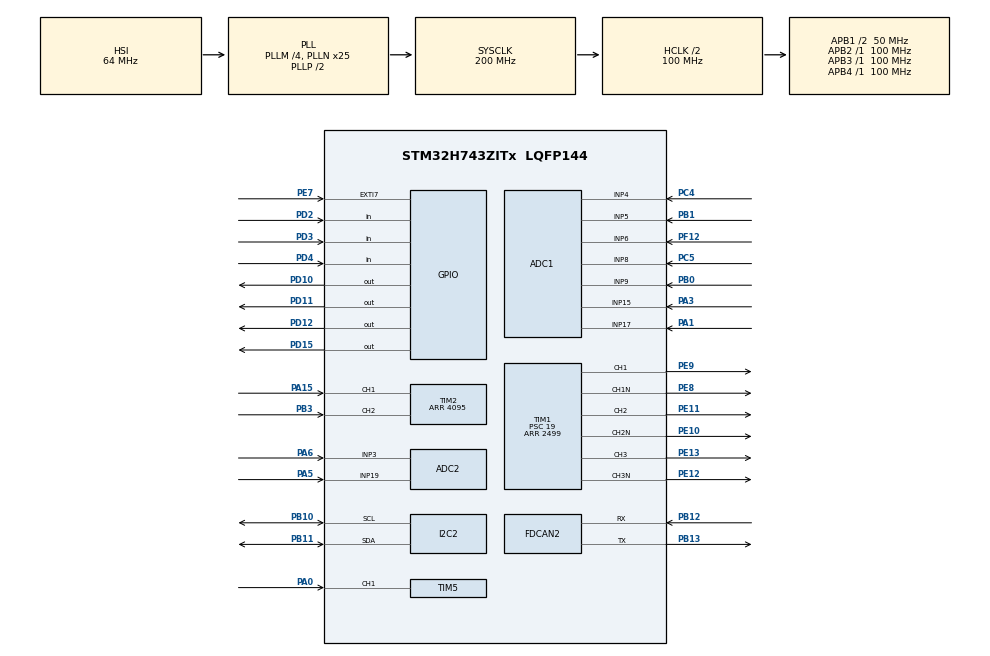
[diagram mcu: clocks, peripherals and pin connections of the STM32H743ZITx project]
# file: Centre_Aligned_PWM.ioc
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ADC1.Channel-0\#ChannelRegularConversion=ADC_CHANNEL_6
ADC1.Channel-1\#ChannelRegularConversion=ADC_CHANNEL_4
ADC1.Channel-2\#ChannelRegularConversion=ADC_CHANNEL_8
ADC1.Channel-3\#ChannelRegularConversion=ADC_CHANNEL_17
ADC1.Channel-4\#ChannelRegularConversion=ADC_CHANNEL_15
ADC1.Channel-5\#ChannelRegularConversion=ADC_CHANNEL_4
ADC1.Channel-6\#ChannelRegularConversion=ADC_CHANNEL_4
ADC1.ClockPrescaler=ADC_CLOCK_ASYNC_DIV4
ADC1.ContinuousConvMode=ENABLE
ADC1.ConversionDataManagement=ADC_CONVERSIONDATA_DMA_CIRCULAR
ADC1.ExternalTrigConv=ADC_SOFTWARE_START
ADC1.NbrOfConversion=7
ADC1.NbrOfConversionFlag=1
ADC1.OffsetNumber-0\#ChannelRegularConversion=ADC_OFFSET_NONE
ADC1.OffsetNumber-1\#ChannelRegularConversion=ADC_OFFSET_NONE
ADC1.OffsetNumber-2\#ChannelRegularConversion=ADC_OFFSET_NONE
ADC1.OffsetNumber-3\#ChannelRegularConversion=ADC_OFFSET_NONE
ADC1.OffsetNumber-4\#ChannelRegularConversion=ADC_OFFSET_NONE
ADC1.OffsetNumber-5\#ChannelRegularConversion=ADC_OFFSET_NONE
ADC1.OffsetNumber-6\#ChannelRegularConversion=ADC_OFFSET_NONE
ADC1.OffsetSignedSaturation-0\#ChannelRegularConversion=DISABLE
ADC1.OffsetSignedSaturation-1\#ChannelRegularConversion=DISABLE
ADC1.OffsetSignedSaturation-2\#ChannelRegularConversion=DISABLE
ADC1.OffsetSignedSaturation-3\#ChannelRegularConversion=DISABLE
ADC1.OffsetSignedSaturation-4\#ChannelRegularConversion=DISABLE
ADC1.OffsetSignedSaturation-5\#ChannelRegularConversion=DISABLE
ADC1.OffsetSignedSaturation-6\#ChannelRegularConversion=DISABLE
ADC1.Rank-0\#ChannelRegularConversion=1
ADC1.Rank-1\#ChannelRegularConversion=2
ADC1.Rank-2\#ChannelRegularConversion=3
ADC1.Rank-3\#ChannelRegularConversion=4
ADC1.Rank-4\#ChannelRegularConversion=5
ADC1.Rank-5\#ChannelRegularConversion=6
ADC1.Rank-6\#ChannelRegularConversion=7
ADC1.SamplingTime-0\#ChannelRegularConversion=ADC_SAMPLETIME_64CYCLES_5
ADC1.SamplingTime-1\#ChannelRegularConversion=ADC_SAMPLETIME_64CYCLES_5
ADC1.SamplingTime-2\#ChannelRegularConversion=ADC_SAMPLETIME_64CYCLES_5
ADC1.SamplingTime-3\#ChannelRegularConversion=ADC_SAMPLETIME_64CYCLES_5
ADC1.SamplingTime-4\#ChannelRegularConversion=ADC_SAMPLETIME_64CYCLES_5
ADC1.SamplingTime-5\#ChannelRegularConversion=ADC_SAMPLETIME_64CYCLES_5
ADC1.SamplingTime-6\#ChannelRegularConversion=ADC_SAMPLETIME_64CYCLES_5
ADC1.master=1
ADC2.ClockPrescaler=ADC_CLOCK_ASYNC_DIV4
ADC2.ContinuousConvMode=DISABLE
ADC2.ConversionDataManagement=ADC_CONVERSIONDATA_DR
ADC2.EnableInjectedConversion=ENABLE
ADC2.EnableRegularConversion=DISABLE
ADC2.ExternalTrigInjecConv=ADC_EXTERNALTRIGINJEC_T1_TRGO2
ADC2.InjNumberOfConversion=2
ADC2.InjectedChannel-4\#ChannelInjectedConversion=ADC_CHANNEL_3
ADC2.InjectedChannel-5\#ChannelInjectedConversion=ADC_CHANNEL_19
ADC2.InjectedConvMode=None
ADC2.InjectedOffsetNumber-4\#ChannelInjectedConversion=ADC_OFFSET_NONE
ADC2.InjectedOffsetNumber-5\#ChannelInjectedConversion=ADC_OFFSET_NONE
ADC2.InjectedOffsetSaturation-4\#ChannelInjectedConversion=DISABLE
ADC2.InjectedOffsetSaturation-5\#ChannelInjectedConversion=DISABLE
ADC2.InjectedOffsetSignedSaturation-4\#ChannelInjectedConversion=DISABLE
ADC2.InjectedOffsetSignedSaturation-5\#ChannelInjectedConversion=DISABLE
ADC2.InjectedRank-4\#ChannelInjectedConversion=1
ADC2.InjectedRank-5\#ChannelInjectedConversion=2
ADC2.InjectedSamplingTime-4\#ChannelInjectedConversion=ADC_SAMPLETIME_64CYCLES_5
ADC2.InjectedSamplingTime-5\#ChannelInjectedConversion=ADC_SAMPLETIME_64CYCLES_5
ADC2.injectedQueueMode=DISABLE
Dma.ADC1.0.Direction=DMA_PERIPH_TO_MEMORY
Dma.ADC1.0.EventEnable=DISABLE
Dma.ADC1.0.FIFOMode=DMA_FIFOMODE_DISABLE
Dma.ADC1.0.Instance=DMA1_Stream0
Dma.ADC1.0.MemDataAlignment=DMA_MDATAALIGN_HALFWORD
Dma.ADC1.0.MemInc=DMA_MINC_ENABLE
Dma.ADC1.0.Mode=DMA_CIRCULAR
Dma.ADC1.0.PeriphDataAlignment=DMA_PDATAALIGN_HALFWORD
Dma.ADC1.0.PeriphInc=DMA_PINC_DISABLE
Dma.ADC1.0.Polarity=HAL_DMAMUX_REQ_GEN_RISING
Dma.ADC1.0.Priority=DMA_PRIORITY_MEDIUM
Dma.ADC1.0.RequestNumber=1
Dma.ADC1.0.SignalID=NONE
Dma.ADC1.0.SyncEnable=DISABLE
Dma.ADC1.0.SyncPolarity=HAL_DMAMUX_SYNC_NO_EVENT
Dma.ADC1.0.SyncRequestNumber=1
Dma.ADC1.0.SyncSignalID=NONE
Dma.Request0=ADC1
FDCAN2.AutoRetransmission=ENABLE
FDCAN2.CalculateBaudRateNominal=250000
FDCAN2.CalculateTimeBitNominal=4000
FDCAN2.CalculateTimeQuantumNominal=200.0
FDCAN2.DataPrescaler=10
FDCAN2.DataTimeSeg1=16
FDCAN2.DataTimeSeg2=3
FDCAN2.NominalPrescaler=10
FDCAN2.NominalTimeSeg1=16
FDCAN2.NominalTimeSeg2=3
FDCAN2.RxBuffersNbr=6
FDCAN2.RxFifo0ElmtsNbr=6
FDCAN2.RxFifo1ElmtsNbr=6
FDCAN2.StdFiltersNbr=8
FDCAN2.TxBuffersNbr=8
FDCAN2.TxFifoQueueElmtsNbr=8
I2C2.CustomTiming=Enabled
I2C2.Timing=0x10C0ECFF
Mcu.Family=STM32H7
Mcu.Name=STM32H743ZITx
Mcu.Package=LQFP144
NVIC.ADC_IRQn=true\:0\:0\:false\:false\:true\:true\:true\:true
NVIC.DMA1_Stream0_IRQn=true\:5\:0\:true\:false\:true\:false\:true\:true
NVIC.EXTI9_5_IRQn=true\:3\:0\:true\:false\:true\:true\:true\:true
NVIC.FDCAN2_IT0_IRQn=true\:6\:0\:true\:false\:true\:true\:true\:true
NVIC.FDCAN2_IT1_IRQn=true\:6\:0\:true\:false\:true\:true\:true\:true
NVIC.PriorityGroup=NVIC_PRIORITYGROUP_4
NVIC.TIM17_IRQn=true\:2\:0\:true\:false\:true\:true\:true\:true
NVIC.TIM2_IRQn=true\:1\:0\:true\:false\:true\:true\:true\:true
NVIC.TIM4_IRQn=true\:7\:0\:true\:false\:true\:true\:true\:true
NVIC.TIM5_IRQn=true\:4\:0\:true\:false\:true\:true\:true\:true
PA0.Signal=S_TIM5_CH1
PA1.Mode=IN17-Single-Ended
PA1.Signal=ADC1_INP17
PA15\ (JTDI).Signal=S_TIM2_CH1_ETR
PA3.Signal=ADCx_INP15
PA5.Signal=ADCx_INP19
PA6.Signal=ADCx_INP3
PB0.Signal=ADCx_INP9
PB1.Signal=ADCx_INP5
PB10.Mode=I2C
PB10.Signal=I2C2_SCL
PB11.Mode=I2C
PB11.Signal=I2C2_SDA
PB12.Mode=FDCAN_Activate
PB12.Signal=FDCAN2_RX
PB13.Mode=FDCAN_Activate
PB13.Signal=FDCAN2_TX
PB3\ (JTDO/TRACESWO).Signal=S_TIM2_CH2
PC4.Signal=ADCx_INP4
PC5.Signal=ADCx_INP8
PD10.Signal=GPIO_Output
PD11.Signal=GPIO_Output
PD12.Signal=GPIO_Output
PD15.GPIO_Speed=GPIO_SPEED_FREQ_VERY_HIGH
PD15.PinState=GPIO_PIN_SET
PD15.Signal=GPIO_Output
PD2.Signal=GPIO_Input
PD3.GPIO_PuPd=GPIO_PULLUP
PD3.Signal=GPIO_Input
PD4.GPIO_PuPd=GPIO_PULLUP
PD4.Signal=GPIO_Input
PE10.Mode=PWM Generation2 CH2 CH2N
PE10.Signal=TIM1_CH2N
PE11.Signal=S_TIM1_CH2
PE12.Mode=PWM Generation3 CH3 CH3N
PE12.Signal=TIM1_CH3N
PE13.Signal=S_TIM1_CH3
PE7.Signal=GPXTI7
PE8.Mode=PWM Generation1 CH1 CH1N
PE8.Signal=TIM1_CH1N
PE9.Signal=S_TIM1_CH1
PF12.Mode=IN6-Single-Ended
PF12.Signal=ADC1_INP6
ProjectManager.HeapSize=0x200
ProjectManager.StackSize=0x400
ProjectManager.TargetToolchain=STM32CubeIDE
RCC.ADCFreq_Value=37500000
RCC.APB1Freq_Value=50000000
RCC.APB2Freq_Value=100000000
RCC.APB3Freq_Value=100000000
RCC.APB4Freq_Value=100000000
RCC.CortexFreq_Value=200000000
RCC.D2PPRE1=RCC_APB1_DIV2
RCC.DIVM1=4
RCC.DIVM2=4
RCC.DIVN1=25
RCC.DIVN2=9
RCC.DIVP2=4
RCC.DIVQ1=8
RCC.FLatency=FLASH_LATENCY_2
RCC.HCLKFreq_Value=100000000
RCC.HPRE=RCC_HCLK_DIV2
RCC.HSICalibrationValue=64
RCC.PLL2FRACN=3072
RCC.PLLFRACN=0
RCC.ProductRev=revV
RCC.SYSCLKFreq_VALUE=200000000
RCC.SYSCLKSource=RCC_SYSCLKSOURCE_PLLCLK
RCC.USBFreq_Value=50000000
SH.ADCx_INP15.0=ADC1_INP15,IN15-Single-Ended
SH.ADCx_INP19.0=ADC2_INP19,IN19-Single-Ended
SH.ADCx_INP3.0=ADC2_INP3,IN3-Single-Ended
SH.ADCx_INP4.0=ADC1_INP4,IN4-Single-Ended
SH.ADCx_INP5.0=ADC1_INP5,IN5-Single-Ended
SH.ADCx_INP8.0=ADC1_INP8,IN8-Single-Ended
SH.ADCx_INP9.0=ADC1_INP9,IN9-Single-Ended
SH.S_TIM1_CH1.0=TIM1_CH1,PWM Generation1 CH1 CH1N
SH.S_TIM1_CH2.0=TIM1_CH2,PWM Generation2 CH2 CH2N
SH.S_TIM1_CH3.0=TIM1_CH3,PWM Generation3 CH3 CH3N
SH.S_TIM2_CH1_ETR.0=TIM2_CH1,Encoder_Interface
SH.S_TIM2_CH2.0=TIM2_CH2,Encoder_Interface
SH.S_TIM5_CH1.0=TIM5_CH1,PWM_Input_1
TIM1.AutoReloadPreload=TIM_AUTORELOAD_PRELOAD_ENABLE
TIM1.Channel-PWM\ Generation1\ CH1\ CH1N=TIM_CHANNEL_1
TIM1.Channel-PWM\ Generation2\ CH2\ CH2N=TIM_CHANNEL_2
TIM1.Channel-PWM\ Generation3\ CH3\ CH3N=TIM_CHANNEL_3
TIM1.Channel-PWM\ Generation4\ No\ Output=TIM_CHANNEL_4
TIM1.CounterMode=TIM_COUNTERMODE_CENTERALIGNED1
TIM1.DeadTime=100
TIM1.OCNIdleState_1=TIM_OCNIDLESTATE_SET
TIM1.OCNIdleState_2=TIM_OCNIDLESTATE_SET
TIM1.OCNIdleState_3=TIM_OCNIDLESTATE_SET
TIM1.OCNPolarity_1=TIM_OCNPOLARITY_HIGH
TIM1.Period=2499
TIM1.Prescaler=19
TIM1.Pulse-PWM\ Generation3\ CH3\ CH3N=0
TIM1.Pulse-PWM\ Generation4\ No\ Output=1250
TIM1.RepetitionCounter=0
TIM1.TIM_MasterOutputTrigger=TIM_TRGO_RESET
TIM1.TIM_MasterOutputTrigger2=TIM_TRGO2_OC4REF
TIM1.TIM_MasterSlaveMode=TIM_MASTERSLAVEMODE_ENABLE
TIM17.AutoReloadPreload=TIM_AUTORELOAD_PRELOAD_ENABLE
TIM17.Period=2499
TIM17.Prescaler=3
TIM2.AutoReloadPreload=TIM_AUTORELOAD_PRELOAD_ENABLE
TIM2.EncoderMode=TIM_ENCODERMODE_TI12
TIM2.IC1Filter=10
TIM2.IC2Filter=10
TIM2.Period=4095
TIM5.ICFilter_1=10
TIM5.ICFilter_2=10
TIM5.Prescaler=99
VP_MEMORYMAP_VS_MEMORYMAP.Mode=CurAppReg
VP_TIM17_VS_ClockSourceINT.Mode=Enable_Timer
VP_TIM1_VS_ClockSourceINT.Mode=Internal
VP_TIM1_VS_no_output4.Mode=PWM Generation4 No Output
VP_TIM4_VS_ClockSourceINT.Mode=Internal
VP_TIM5_VS_ClockSourceINT.Mode=Internal
board=custom

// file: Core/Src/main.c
/* USER CODE BEGIN Header */
/**
 ******************************************************************************
 * @file           : main.c
 * @brief          : Main program body
 ******************************************************************************
 * @attention
 *
 * Copyright (c) 2025 STMicroelectronics.
 * All rights reserved.
 *
 * This software is licensed under terms that can be found in the LICENSE file
 * in the root directory of this software component.
 * If no LICENSE file comes with this software, it is provided AS-IS.
 *
 ******************************************************************************
 */
/* USER CODE END Header */
#include "main.h"
#include "adc.h"
#include "dma.h"
#include "fdcan.h"
#include "i2c.h"
#include "tim.h"
#include "gpio.h"
#include "spi.h"

/* USER CODE BEGIN PTD */
image_hdr_t image_hdr __attribute__((section(".image_hdr"))) = {
   .image_magic       = IMAGE_MAGIC,
   .image_hdr_version = IMAGE_HEADER_VERSION,
   .crc               = 0,
   .data_size         = 0,
   .image_type        = 0,
   .version_major     = FIRMWARE_VERSION_MAJOR,
   .version_minor     = FIRMWARE_VERSION_MINOR,
   .version_patch     = FIRMWARE_VERSION_SUBMINOR,
#ifdef CURR_APP1
    .active_app = 1,
#endif
#ifdef CURR_APP2
    .active_app = 2,
#endif
    .git_sha = (uint64_t)GIT_SHA,
};

uint8_t UID[12] = {0};
/* USER CODE END PTD */

void SystemClock_Config(void);
void PeriphCommonClock_Config(void);
/* USER CODE BEGIN PFP */
void OTA_Manager(void);   /* defined below; forward-declared so the call in the main loop has a prototype */
/* USER CODE END PFP */

/* USER CODE BEGIN 0 */
uint8_t heart_beat_init[8] = {0x01, 0x04};
uint8_t rxMsg[8] = {0};
uint16_t injectedVal[3] = {0};          /* [U, V, W] */
uint16_t currSensOff[3] = {0, 0, 0};
/* ADC1 DMA target — written by hardware, not by any CPU context. volatile is
 * load-bearing here: the build uses -flto, so without it the definition and
 * its reader (ADC1_Analog_Val_Update) are visible to one optimiser that
 * cannot see the DMA writes. Keep the qualifier on the extern too. */
volatile uint16_t adc1_buffer[5] = {0};
uint16_t counter = 0;
uint32_t ia_offset = 0;
uint32_t ib_offset = 0;

/* Autotune stuct instances */
tag_AngleAutoTuneDebugParam TagAutotuneDebug;
tag_AngleAutoTuneOutputParam TagAutotuneOutput;
tag_AngleAutoTuneInputParam TagAutotuneInput;
tag_AutotuneConfig AutotuneConfig;

uint8_t OTA_State = 0;

volatile fnr_state_t fnr_state = NEUTRAL;
volatile power_mode_t pw_state = ECO;
volatile currSession cS = INIT;
errors_nums err = NO_ERROR;
errors er = {0};
can_data_t can_d = {.can_soc = 1.0f, .can_pack_voltage = OP_VOLTAGE, .isense_delay_s = FOC_ISENSE_DELAY_S, .can_dclo = DCLO_DEFAULT, .can_Rs = RS, .can_Lambda = LAMBDA, .can_Ld = LD, .can_Lq = LQ, .canFW_params.M_to_F = FW_M2F, .canFW_params.F_to_M = FW_F2M, .canFW_params.Kaw = FW_KAW, .canFW_params.Kfw = FW_KFW, .canFW_params.Rst_Factor = FW_RST_FACTOR, .canSpeed_PID.Kp = SPEED_KP, .canSpeed_PID.Ki = SPEED_KI, .canSpeed_PID.Kd = SPEED_KD, .canSpeed_PID.Back_Kaw = SPEED_PID_BACK_KAW, .canSpeed_PID.Kd_Filter = SPEED_KD_FILTER, .canSpeed_PID.Output_Up_Limit = SPEED_PID_OUT_UPL, .canSpeed_PID.Output_Low_Limit = SPEED_PID_OUT_LOWL, .canId_PID.Kp = ID_KP, .canId_PID.Ki = ID_KI, .canId_PID.Kd = ID_KD, .canId_PID.Back_Kaw = ID_PID_BACK_KAW, .canId_PID.Kd_Filter = ID_KD_FILTER, .canId_PID.Output_Up_Limit = ID_PID_OUT_UPL, .canId_PID.Output_Low_Limit = ID_PID_OUT_LOWL, .canIq_PID.Kp = IQ_KP, .canIq_PID.Ki = IQ_KI, .canIq_PID.Kd = IQ_KD, .canIq_PID.Back_Kaw = IQ_PID_BACK_KAW, .canIq_PID.Kd_Filter = IQ_KD_FILTER, .canIq_PID.Output_Up_Limit = IQ_PID_OUT_UPL, .canIq_PID.Output_Low_Limit = IQ_PID_OUT_LOWL};
data_t d = {.canBus_ok = 1, .regen_active = false, .Op_ts = 0.0001f, .speed_ref = 0.0f, .start_alignment = 1, .end_alignment = 0, .Vmax_SVM = SVM_VOLTAGE_LIMIT, .Vdc = OP_VOLTAGE, .vdc_filt = OP_VOLTAGE};

/* USER CODE END 0 */

int main(void)
{
  /* USER CODE BEGIN 1 */
  SCB_EnableICache();
  /* USER CODE END 1 */

  /* MCU Configuration--------------------------------------------------------*/

  /* Reset of all peripherals, Initializes the Flash interface and the Systick. */
  HAL_Init();

  /* Configure the system clock */
  SystemClock_Config();

  /* Configure the peripherals common clocks */
  PeriphCommonClock_Config();

  /* USER CODE BEGIN SysInit */
  #if EST_CYC_CNT
  CoreDebug->DEMCR |= CoreDebug_DEMCR_TRCENA_Msk;
  DWT->LAR    = 0xC5ACCE55;  /* unlock DWT regs (required on Cortex-M7) */
  DWT->CYCCNT = 0;
  DWT->CTRL  |= DWT_CTRL_CYCCNTENA_Msk;
  #endif
  /* USER CODE END SysInit */

  /* Initialize all configured peripherals */
  MX_GPIO_Init();
  MX_DMA_Init();
  MX_TIM1_Init();
  MX_ADC2_Init();
  MX_TIM5_Init();
  MX_TIM17_Init();
  MX_ADC1_Init();
  MX_TIM2_Init();
  MX_FDCAN2_Init();
  MX_I2C2_Init();
  MX_TIM4_Init();
  /* USER CODE BEGIN 2 */
  HAL_Delay(10);

  /* Stopping all TIM1 for safety precauiton at program start */
  HAL_TIM_PWM_Stop(&htim1, TIM_CHANNEL_3);
  HAL_TIM_PWM_Stop(&htim1, TIM_CHANNEL_2);
  HAL_TIM_PWM_Stop(&htim1, TIM_CHANNEL_1);

  HAL_TIMEx_PWMN_Stop(&htim1, TIM_CHANNEL_3);
  HAL_TIMEx_PWMN_Stop(&htim1, TIM_CHANNEL_2);
  HAL_TIMEx_PWMN_Stop(&htim1, TIM_CHANNEL_1);
  /* USER CODE END 2 */

  /* Infinite loop */
  /* USER CODE BEGIN WHILE */
  Get_UID();
  /* First read EEPROM for calib done flag */
  Read_EEPROM_at_init();
  HAL_Delay(10);

  if (cS == INIT || FORCE_ANGLETUNE) {
    set_Initial_angle();
    /* Setting Auto tune algo input params */
    AutotuneConfig.f_idSetRef = AUTO_TUNING_IDREF;
    AutotuneConfig.f_IdRefIncrementValue = AUTOTUNE_IDREF_INCREMENT;
    AutotuneConfig.f_CalibElectricalAngleInc = AUTOTUNE_ANGLE_INCREMENT;
    AutotuneConfig.F_MaxVd = MAX_VD;
    AutotuneConfig.F_MinVd = MIN_VD;
    AutotuneConfig.f_Electrical360Rad = ANGLE_RAD_360;
    AutotuneConfig.u8_MOTOR_POLE_PAIRS = MOTOR_POLE_PAIRS;
    AutotuneConfig.u16_AO_Set_Time = AO_SET_TIME;
    AutotuneConfig.u16FreeRunTmo = AUTOTUNE_FREERUNCOUNT;
    AutotuneConfig.f_Autotune_RPM_Set_Ref = TUNING_CALC_RPM;
    AutotuneConfig.u16StateChangeTMO = AUTOTUNESTATE_CHANGE_TMO;
    AutotuneConfig.u16_AUTOTUN_SPEED_RAMP_TIME = AUTOTUN_SPEED_RAMP_TIME;
    AutotuneConfig.u16_AUTOTUNE_SPEED_RAMP = AUTOTUNE_SPEED_RAMP;
    AutotuneConfig.u16_MAX_ITERATION = MAX_ITERATION;
    AutotuneConfig.u16_ALIGNEMENT_TMO = ALIGNEMENT_TMO;
    AutotuneConfig.u16_AVERAGE_SAMPLE = AVERAGE_SAMPLE;
    AutotuneConfig.u16_VD_VQ_AVERAGE_COUNT = VD_VQ_AVERAGE_COUNT;
    d.regen_active = false;
    AutotuneInit(&AutotuneConfig);
  } else if (cS == ANGLE_CALIB_DONE || !FORCE_ANGLETUNE) {
    set_Initial_angle();
    Disable_tim5();
    d.regen_active = true;
  }
    /* USER CODE END WHILE */

    /* USER CODE BEGIN 3 */
  // Start encoder capture on both channels with interrupts
  if (HAL_TIM_Encoder_Start_IT(&htim2, TIM_CHANNEL_ALL) != HAL_OK)
    Error_Handler();

  __HAL_TIM_SET_COMPARE(&htim1, TIM_CHANNEL_3, 0);
  __HAL_TIM_SET_COMPARE(&htim1, TIM_CHANNEL_2, 0);
  __HAL_TIM_SET_COMPARE(&htim1, TIM_CHANNEL_1, 0);

  HAL_ADCEx_Calibration_Start(&hadc2, ADC_CALIB_OFFSET, ADC_SINGLE_ENDED);
  HAL_ADCEx_Calibration_Start(&hadc1, ADC_CALIB_OFFSET, ADC_SINGLE_ENDED);
  HAL_Delay(10);

  HAL_ADC_Start_DMA(&hadc1, (uint32_t *)adc1_buffer, 5);

  /* Initializing FOC and Protections model */
  // FOC_MTPA_FWC_FF_initialize();
  Current_Ref_Estimator_initialize();
  FOC_Loop_initialize();
  #if CAN_SPEED_ONLY
  /* Hold Forward + minimum throttle voltage so the model's FNR chart enters
   * Forward at standstill (needs FNR_Active = throttle <= min + hyst, and
   * Drive_State = Forward). Regen off: with throttle at minimum, Forward and
   * speed above REGEN_MIN_RPM_EN the chart would otherwise enter regen. */
  can_d.direction = FORWARD;
  can_d.can_instV = THR_MIN_VAL;
  FOC_Loop_U.Throttle_input.Throttle_Inst_Voltage = THR_MIN_VAL;
  FOC_Loop_U.Regen.Regen_Active = false;
  d.regen_active = false;
  #endif
  Open_FOC0_initialize();
  #if PROTECTION_MODEL
  MCU_Protections_initialize();
  #endif
  RateLimiter_Init(&limiter, 100.0f, 600.0f, 0.0f);
  /* Throttle-request limiter — the launch-feel knob (TRQ_REQ_SLEW_* in
   * vehicle_config.h). Binding for driver transients; the command slew in
   * Torque_Management is faster and only smooths protection releases. */
  RateLimiter_Init(&torqueRate, TRQ_REQ_SLEW_UP_NM_S, TRQ_REQ_SLEW_DOWN_NM_S, 0.0f);
  HAL_Delay(10);

  /*Starting FDCAN2, Queue Init and Throttle Init*/
  FDCAN_SETUP();
  CAN_Queue_Init();
  #if THROTTLE_BASED_REF
  App_Init();
  #endif

  /*Sending Heartbeat message once at init*/
  _fdcan_transmit_on_can(0x400, FDCAN_STANDARD_ID, heart_beat_init, 0x08);
  Send_heartbeat();
  /* Enable LED */
  HAL_GPIO_WritePin(STATUS_LED_GPIO_Port, STATUS_LED_PINS, GPIO_PIN_SET);

  /*Starting ADC2 Injected conversions first*/
  HAL_ADCEx_InjectedStart(&hadc1);      /* V current (PF11), polled by ADC2 callback */
  HAL_ADCEx_InjectedStart_IT(&hadc2);
  HAL_TIM_Base_Start_IT(&htim17);

  /*Then starting TIM1 complementary channels and trigger channel*/
  HAL_TIM_PWM_Start(&htim1, TIM_CHANNEL_3);
  HAL_TIM_PWM_Start(&htim1, TIM_CHANNEL_2);
  HAL_TIM_PWM_Start(&htim1, TIM_CHANNEL_1);

  HAL_TIMEx_PWMN_Start(&htim1, TIM_CHANNEL_3);
  HAL_TIMEx_PWMN_Start(&htim1, TIM_CHANNEL_2);
  HAL_TIMEx_PWMN_Start(&htim1, TIM_CHANNEL_1);

  HAL_TIM_PWM_Start(&htim1, TIM_CHANNEL_4);

  while (1)
  {
    uint32_t Time_Now = HAL_GetTick();
    static uint32_t Time_prev_25ms = 0;
    if(Time_Now - Time_prev_25ms >= 25){
      Time_prev_25ms = Time_Now;
      if(OTA_State){
        OTA_Manager();
      }
    }
    /* USER CODE END WHILE */

    /* USER CODE BEGIN 3 */
    uint32_t time_stamp_now = HAL_GetTick();

    /* P4: deferred EEPROM write (ISR set flag to avoid blocking 1kHz TIM17) */
    if (eeprom_write_pending && cS == ANGLE_CALIB_DONE)
    {
      eeprom_write_pending = 0;
      if (EEPROM_Write_Page0(eeprom_cw_pending, eeprom_ccw_pending, eeprom_cw_high_pending) == HAL_OK)
        HAL_NVIC_SystemReset();
      else
      {
        er.eeprom_write_error = 1;
        err = EEPROM_WRITE_ERROR;
      }
    }

    /* CAN-triggered autotune: invalidate EEPROM page 0 and reset so next
     * boot runs ANGLE_CALIB via the existing start_alignment/end_alignment path. */
    if (can_d.autotune_request && fabsf(d.RPM) <= 10.0f)
    {
      disable_drive();
      if (EEPROM_Invalidate_Page0() == HAL_OK)
        HAL_NVIC_SystemReset();
      else
      {
        can_d.autotune_request = 0;
        er.eeprom_write_error = 1;
        err = EEPROM_WRITE_ERROR;
      }
    }

    if (cS == FOC_START)
      power_mode_fnr_switch();

    /* Gathering ADC1 values */
    ADC1_Analog_Val_Update();
    #if PROTECTION_MODEL
    /* MCU Proctections Model input update */
    Model_Params_Input();
    /* Running MCU protections model */
    MCU_Protections_step();
    /* Checking the MCU Protections Model output flags and setting error flags */
    Model_Output_Flag_Checks();
    #endif

    #if CAN_BASED_REF
    if (cS == FOC_START && FOC_Loop_U.Speed_1_Torque_0 == true)
      FOC_Loop_U.Ref_Speed_mech_rpm = RateLimiter_Update(&limiter, d.speed_ref, ((float)time_stamp_now * T_S));
    else if (cS == FOC_START && FOC_Loop_U.Speed_1_Torque_0 == false) {
      FOC_Loop_U.RefTrq = RateLimiter_Update(&torqueRate, d.torque_ref, ((float)time_stamp_now * T_S));
    }
    #endif

    #if THROTTLE_BASED_REF
    if (FOC_Loop_U.Speed_1_Torque_0 == true && cS == FOC_START) {
      d.speed_ref = (float)ThrottleMap_GetRPM(&g_throttle_cfg, d.thr_v_mv);
      /* Pass target_rpm into your FOC speed reference */
      FOC_Loop_U.Ref_Speed_mech_rpm = RateLimiter_Update(&limiter, d.speed_ref, ((float)time_stamp_now * T_S));
    } else if (FOC_Loop_U.Speed_1_Torque_0 == false && cS == FOC_START) {
      /* Request limiter runs every iteration — including brake-command
       * cuts (target 0) — so its state tracks reality and never goes
       * stale. The cut itself stays immediate: apply_torque_scaling gets
       * a raw 0, not the limited value. */
      float torque_req = can_d.brake_command_active ? 0.0f
                         : ThrottleMap_GetTorque(&g_throttle_cfg, d.thr_v_mv, MAX_TORQUE);
      torque_req = RateLimiter_Update(&torqueRate, torque_req, ((float)time_stamp_now * T_S));
      if (can_d.brake_command_active) {
        FOC_Loop_U.RefTrq = d.torque_final = apply_torque_scaling(torque_req, d.rad_s, pw_state, fnr_state, (float)d.Mtr_temp, (float)d.Mtc_temp, &derate_result);
        can_d.brake_command_reply = true;
      } else {
        d.torque_final = apply_torque_scaling(torque_req, d.rad_s, pw_state, fnr_state, (float)d.Mtr_temp, (float)d.Mtc_temp, &derate_result);
        /* Pass target_reftrq into your FOC Torque reference */
        FOC_Loop_U.RefTrq = d.torque_final;
        can_d.brake_command_reply = false;
      }
      /* Regen enable is refreshed every torque-mode loop so it never lingers at
       * a stale init value (torque mode is the production mode; in speed/dyno
       * mode regen arming falls back to the init default d.regen_active). */
      #if REGEN_LESS_EAGER_ARM
      /* Less-eager regen arming (see vehicle_config.h): permit the FOC chart to
       * arm regen only while the driver is NOT commanding drive torque, so a
       * slight lift coasts instead of grabbing regen. Gates ARMING only — the
       * regen exit is handled polarity-correctly inside FOC_Loop.c, and
       * clearing this mid-regen does not force an exit (the else/stay branch
       * ignores Regen_Active).
       *
       * Gate on torque_req — the RAW driver demand — not d.torque_final. The
       * latter is the post-limiter command, so when the speed/power cap cuts it
       * to ~0 at FULL throttle (switching SPORTS->ECO above ECO's speed cap, or
       * any speed-limited crest) torque_final falls below the arm threshold and
       * regen engages WHILE the driver is still asking for thrust — a
       * thrust-to-brake reversal, felt as a violent jerk. torque_req stays high
       * until a genuine lift, so regen only arms when the driver actually backs
       * off. */
      FOC_Loop_U.Regen.Regen_Active =
          d.regen_active && (torque_req <= REGEN_ARM_TORQUE_NM);
      #else
      FOC_Loop_U.Regen.Regen_Active = d.regen_active;
      #endif
    }
    #endif
  }
  /* USER CODE END 3 */
}

void SystemClock_Config(void)
{
  RCC_OscInitTypeDef RCC_OscInitStruct = {0};
  RCC_ClkInitTypeDef RCC_ClkInitStruct = {0};

  /** Supply configuration update enable
  */
  HAL_PWREx_ConfigSupply(PWR_LDO_SUPPLY);

  /** Configure the main internal regulator output voltage
  */
  __HAL_PWR_VOLTAGESCALING_CONFIG(PWR_REGULATOR_VOLTAGE_SCALE3);

  while(!__HAL_PWR_GET_FLAG(PWR_FLAG_VOSRDY)) {}

  /** Initializes the RCC Oscillators according to the specified parameters
  * in the RCC_OscInitTypeDef structure.
  */
  RCC_OscInitStruct.OscillatorType = RCC_OSCILLATORTYPE_HSI;
  RCC_OscInitStruct.HSIState = RCC_HSI_DIV1;
  RCC_OscInitStruct.HSICalibrationValue = RCC_HSICALIBRATION_DEFAULT;
  RCC_OscInitStruct.PLL.PLLState = RCC_PLL_ON;
  RCC_OscInitStruct.PLL.PLLSource = RCC_PLLSOURCE_HSI;
  RCC_OscInitStruct.PLL.PLLM = 4;
  RCC_OscInitStruct.PLL.PLLN = 25;
  RCC_OscInitStruct.PLL.PLLP = 2;
  RCC_OscInitStruct.PLL.PLLQ = 8;
  RCC_OscInitStruct.PLL.PLLR = 2;
  RCC_OscInitStruct.PLL.PLLRGE = RCC_PLL1VCIRANGE_3;
  RCC_OscInitStruct.PLL.PLLVCOSEL = RCC_PLL1VCOWIDE;
  RCC_OscInitStruct.PLL.PLLFRACN = 0;
  if (HAL_RCC_OscConfig(&RCC_OscInitStruct) != HAL_OK)
  {
    Error_Handler();
  }

  /** Initializes the CPU, AHB and APB buses clocks
  */
  RCC_ClkInitStruct.ClockType = RCC_CLOCKTYPE_HCLK|RCC_CLOCKTYPE_SYSCLK
                              |RCC_CLOCKTYPE_PCLK1|RCC_CLOCKTYPE_PCLK2
                              |RCC_CLOCKTYPE_D3PCLK1|RCC_CLOCKTYPE_D1PCLK1;
  RCC_ClkInitStruct.SYSCLKSource = RCC_SYSCLKSOURCE_PLLCLK;
  RCC_ClkInitStruct.SYSCLKDivider = RCC_SYSCLK_DIV1;
  RCC_ClkInitStruct.AHBCLKDivider = RCC_HCLK_DIV2;
  RCC_ClkInitStruct.APB3CLKDivider = RCC_APB3_DIV1;
  RCC_ClkInitStruct.APB1CLKDivider = RCC_APB1_DIV2;
  RCC_ClkInitStruct.APB2CLKDivider = RCC_APB2_DIV1;
  RCC_ClkInitStruct.APB4CLKDivider = RCC_APB4_DIV1;

  if (HAL_RCC_ClockConfig(&RCC_ClkInitStruct, FLASH_LATENCY_2) != HAL_OK)
  {
    Error_Handler();
  }
}

void PeriphCommonClock_Config(void)
{
  RCC_PeriphCLKInitTypeDef PeriphClkInitStruct = {0};

  /** Initializes the peripherals clock
  */
  PeriphClkInitStruct.PeriphClockSelection = RCC_PERIPHCLK_ADC;
  PeriphClkInitStruct.PLL2.PLL2M = 4;
  PeriphClkInitStruct.PLL2.PLL2N = 9;
  PeriphClkInitStruct.PLL2.PLL2P = 4;
  PeriphClkInitStruct.PLL2.PLL2Q = 2;
  PeriphClkInitStruct.PLL2.PLL2R = 2;
  PeriphClkInitStruct.PLL2.PLL2RGE = RCC_PLL2VCIRANGE_3;
  PeriphClkInitStruct.PLL2.PLL2VCOSEL = RCC_PLL2VCOMEDIUM;
  PeriphClkInitStruct.PLL2.PLL2FRACN = 3072;
  PeriphClkInitStruct.AdcClockSelection = RCC_ADCCLKSOURCE_PLL2;
  if (HAL_RCCEx_PeriphCLKConfig(&PeriphClkInitStruct) != HAL_OK)
  {
    Error_Handler();
  }
}

/* USER CODE BEGIN 4 */
void HAL_ADCEx_InjectedConvCpltCallback(ADC_HandleTypeDef *hadc)
{
  if (hadc->Instance == ADC2)
  {
    /* Reading injected values for the 2 phases */
    /* U = PB1 (ADC2 rank1), W = PB0 (ADC2 rank2), V = PF11 (ADC1-only pin,
     * ADC1 injected, same TIM1 TRGO2 trigger; finishes before ADC2's 2nd conv) */
    injectedVal[PHASE_U] = HAL_ADCEx_InjectedGetValue(hadc, ADC_INJECTED_RANK_1);
    injectedVal[PHASE_W] = HAL_ADCEx_InjectedGetValue(hadc, ADC_INJECTED_RANK_2);
    injectedVal[PHASE_V] = HAL_ADCEx_InjectedGetValue(&hadc1, ADC_INJECTED_RANK_1);

    if (cS == CURR_SENS_CALIB)
      isr_curr_sens_calib();
    else if (cS == ANGLE_CALIB)
      isr_angle_calib();
    else if (cS == FOC_START)
      isr_open_foc();
  }
}

void HAL_TIM_PeriodElapsedCallback(TIM_HandleTypeDef *htim)
{
  if (htim->Instance == TIM4)
  {
    HAL_TIM_Base_Stop_IT(&htim4);
    #if VH_CAN_ID
    Send_on_CAN_7A1();
    Send_on_CAN_7A2();
    Send_on_CAN_7A3();
    #endif
  }

  if (htim->Instance == TIM17)
    tim17_1ms_tick();
}

/* FDCAN Rx Callback — dispatch logic lives in can_rx_handlers.c */
void HAL_FDCAN_RxFifo0Callback(FDCAN_HandleTypeDef *hfdcan, uint32_t RxFifo0ITs)
{
  HAL_FDCAN_GetRxMessage(hfdcan, FDCAN_RX_FIFO0, &RxMessageBuf, rxMsg);

  #if DEBUG_CAN_ID
  if (RxMessageBuf.DataLength >= FDCAN_DLC_BYTES_1)
    can_rx_dispatch(RxMessageBuf.Identifier, rxMsg);
  #endif
  #if VH_CAN_ID
  #if CAN_AUTOTUNE_TRIGGER
  /* Bench-only: another ECU transmits on 0x729 on the vehicle bus (see
   * vehicle_config.h). The FDCAN filter for 0x729 is gated the same way. */
  if (RxMessageBuf.Identifier == 0x729) {
    can_rx_0x729((uint8_t*)rxMsg);
  }
  #endif

  if (RxMessageBuf.Identifier == 0x110) {
    int32_t temp_curr = (int32_t)((rxMsg[7] << 24) | (rxMsg[6] << 16) | (rxMsg[5] << 8) | rxMsg[4]);
    can_d.can_battCurr = (float)(temp_curr) * 1.0E-5;
    can_d.t_rx_0x110_ms = HAL_GetTick();   /* freshness + new-sample detect for DCLO */
  }

  if (RxMessageBuf.Identifier == 0x12A) {
    can_d.can_dclo = (float)(rxMsg[3] << 8 | rxMsg[2]) * 0.1f;
    can_d.can_dcli = (float)(rxMsg[1] << 8 | rxMsg[0]) * 0.1f;
    can_d.t_rx_0x12A_ms = HAL_GetTick();
  }

  if (RxMessageBuf.Identifier == 0x109) {
    /* BMS CAN matrix 0x109: bytes 0-1 SOC (0.01%), bytes 2-3 SOH (0.01%),
     * byte 4 BMSS, byte 5 FFC, bytes 6-7 PV pack voltage (0.1 V).
     * SOC: raw * 0.0001 -> per-unit [0.0, 1.0]. */
    can_d.can_soc = (float)((rxMsg[1] << 8) | rxMsg[0]) * 0.0001f;
    /* Pack voltage: bytes 7 (high) | 6 (low), scale 0.1 -> volts.
     * (Was mis-decoded from bytes 2-3 = SOH: 100% SOH read as "1000 V",
     * which railed the DCLO modulation-index estimate at its floor and
     * loosened the Is cap ~2.4x -> DCLO breach.) Only accept when the
     * frame carries all 8 bytes AND the value is plausible; else keep the
     * last good / OP_VOLTAGE boot default. rxMsg is a shared buffer (HAL
     * writes only DataLength bytes), so a short frame leaves STALE bytes
     * at [6..7], and a zero decode would zero the DCLO Is cap. */
    if (RxMessageBuf.DataLength >= FDCAN_DLC_BYTES_8) {
      float pack_v = (float)((rxMsg[7] << 8) | rxMsg[6]) * 0.1f;
      if (pack_v > 1.0f) can_d.can_pack_voltage = pack_v;
    }
  }

  if (RxMessageBuf.Identifier == 0x725) {
    if (rxMsg[0] == 0x01) {
      can_d.brake_command_active = true;
    } else if (rxMsg[0] == 0x00) {
      can_d.brake_command_active = false;
    }
  }
  #endif
  if(RxMessageBuf.Identifier == 0x6FA)
  {
    if((rxMsg[1] == PEGASUS_ID) && (rxMsg[2] == FUPFG_REQUEST)){
      OTA_Source_ECU = rxMsg[0];
      OTA_State = 1; //Firing Up OTA Manager
      if(rxMsg[3] == RECEIVE_BIN){
        uptype = FOTA;
        upgrade_state = UPGRADE_INIT;
      }
      else if(rxMsg[3] == TRANSFER_COMPLETE){
        upgrade_state = UPGRADE_WAIT;
        transmit_upgrade_Status(SUCCESS_MESS);
      }
      else if(rxMsg[3] == PERFORM_UPGRADE || rxMsg[3] == COMPLETE_OTA){
        uptype = FOTA;
        upgrade_state = UPGRADE_COMPLETE;
        set_complete_flag(1);
        transmit_upgrade_Status(SUCCESS_MESS);
        // switch_partition_and_reset();
      }
      else if(rxMsg[3] == RECEIVE_CONF){
        uptype = COTA;
        upgrade_state = UPGRADE_INIT;
        //COTA TBD :(
      }
    }
  }
  if(RxMessageBuf.Identifier == 0x7FE) //OTA Data Message
  {
    CAN_TP_Receive_interrupt(PEGASUS_CAN_TP_ID, (uint8_t *)rxMsg, RxMessageBuf.DataLength, &firmware_up_recv_shim, &firmware_up_recv_message, &firmware_up_recv_handle);
  }
}

/* FDCAN TX Complete Callback - automatically sends next message */
void HAL_FDCAN_TxBufferCompleteCallback(FDCAN_HandleTypeDef *hfdcan, uint32_t BufferIndexes)
{
  if (hfdcan->Instance == FDCAN2)
  {
    // Transmission complete, send next message from queue
    CAN_Queue_Process();
  }
}

// Callback
void HAL_FDCAN_ErrorStatusCallback(FDCAN_HandleTypeDef *hfdcan, uint32_t ErrorStatusITs)
{
  if (hfdcan->Instance == FDCAN2)
  {
    if (ErrorStatusITs & FDCAN_IT_BUS_OFF)
    {
      HAL_FDCAN_Stop(&hfdcan2);
      CAN_Queue_Init();
      HAL_FDCAN_Start(&hfdcan2);
    }
  }
}

void HAL_GPIO_EXTI_Callback(uint16_t GPIO_Pin)
{
  if (GPIO_Pin == GPIO_PIN_7)
  {
    d.z_pulse ^= 1;
    d.z_count++;

    /* Stopping uint32_t overflow */
    if (d.z_count >= UINT32_MAX)
    {
      d.z_count = 0;
    }

    /* Not Resetting mech angle and TIM2 reg on every z index pulse, only getting the TIM2 count */
    if (cS == FOC_START)
    {
      /* Getting TIM2 count at Z trig */
      d.count_at_z = __HAL_TIM_GET_COUNTER(&htim2);
      /* Intentionally not resetting mech_angle or TIM2 on Z pulse — angle continuity is maintained by offset calibration */
    }

    /* Storing the prev Z count */
    d.prev_z_count = d.curr_z_count;
  }
}

void HAL_TIM_IC_CaptureCallback(TIM_HandleTypeDef *htim)
{
  if (htim->Instance == TIM5)
  {
    if (htim->Channel == HAL_TIM_ACTIVE_CHANNEL_1) // If the interrupt is triggered by channel 1
    {
      /* Using TIM5 to get the initial angle on startup from the encoder PWM duty */
      // Read the IC value
      d.ICvalue = HAL_TIM_ReadCapturedValue(htim, TIM_CHANNEL_1);

      if (d.ICvalue != 0)
      {
        // calculate the Duty Cycle
        d.Duty = (HAL_TIM_ReadCapturedValue(htim, TIM_CHANNEL_2) * 100.0f) / d.ICvalue;

        /* TIM5 is on APB1, so its kernel clock is NOT SYSCLK. With TIMPRE = 0
         * and the APB1 prescaler at /2, the timer clock equals rcc_hclk1 —
         * HCLK, half of SYSCLK. Using SysClockFreq here made this 2x high. */
        d.Frequency = (float)HAL_RCC_GetHCLKFreq() / (d.ICvalue * (TIM5_PSC + 1));

        d.abs_Angle_pwm = (100.0f - d.Duty) * 0.01f * TWO_PI - HIGH_PULSE16_ERROR;
        d.abs_Angle_pwm = fmodf(d.abs_Angle_pwm, TWO_PI);
      }
    }
  }
}

void OTA_Manager(){

    switch(upgrade_state)
    {
    case UPGRADE_INIT:
      __HAL_TIM_MOE_DISABLE(&htim1);
      HAL_TIM_Base_Stop_IT(&htim1);
      // HAL_TIM_Base_Stop_IT(&htim17);
      HAL_ADCEx_InjectedStop_IT(&hadc2);
      OTA_FDCAN_SETUP();
      handle_upgrade_init();
      break;
    case UPGRADE_RECEIVE_DATA:
      handle_rceive_data();
      break;
    case UPGRADE_COMPLETE:
      handle_upgrade_complete();
      break;
    case UPGRADE_FAILED:
      OTA_FDCAN_RESTORE();
      HAL_TIM_Base_Start_IT(&htim1);
      HAL_TIM_Base_Start_IT(&htim17);
      OTA_State = 0;
      break;
    case UPGRADE_WAIT:
      //Handle_Bin_transfer_Complete();
      break;
    default:
        //Add somethin here
      break;
    }
}
/* USER CODE END 4 */

void Error_Handler(void)
{
  __disable_irq();
  while (1)
  {
  }
}
